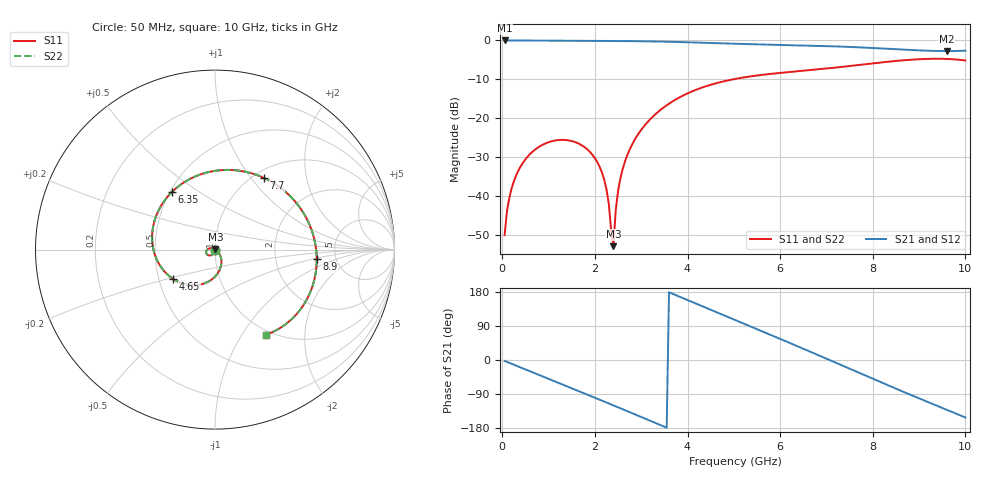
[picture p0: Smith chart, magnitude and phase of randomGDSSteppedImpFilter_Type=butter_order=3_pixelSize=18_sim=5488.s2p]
! freq	dB(S11)	phase(S11)	dB(S12)	phase(S12)
!  dB(S21)	phase(S21)	dB(S22)	phase(S22)
!S-par simulation data
#  GHz  S  DB  R 50
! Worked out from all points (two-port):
!   200 points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, 50 MHz to 10 GHz, reference 50 ohm
!   highest |S21| = 0.00 dB at 50 MHz (marker M1); lowest = -2.7 dB at 9.6 GHz (marker M2)
!   |S21| within 3 dB of the highest: start of sweep to end of sweep
!   lowest |S11| = -52.9 dB at 2.4 GHz (marker M3), VSWR 1.00, Z = 50.2 + j0.0799 ohm
!   |S11| at or under -10 dB: start of sweep to 4.982 GHz
!   |S22| runs from -54.1 to -4.7 dB; largest |S21 - S12| = 0
!   S11 on the Smith chart (normalised r, x): 50 MHz: 1.00, -0.01; 4.65 GHz: 0.59, -0.21; 6.35 GHz: 0.51, +0.39; 7.7 GHz: 1.11, +1.16; 8.9 GHz: 3.54, -0.57; 10 GHz: 0.95, -1.29
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0.05  -50.06 -91.2  -0.00 -2.5  -0.00 -2.5  -50.06 -91.2
0.2  -38.10 -99.9  -0.00 -10.0  -0.00 -10.0  -38.10 -99.8
0.55  -29.84 -117.9  -0.02 -27.5  -0.02 -27.5  -29.84 -117.8
1.15  -25.71 -148.5  -0.07 -57.3  -0.07 -57.3  -25.71 -148.3
1.75  -27.21 -179.4  -0.11 -87.1  -0.11 -87.1  -27.22 -179.1
2.2  -35.77 154.2  -0.13 -109.7  -0.13 -109.7  -35.78 155.4
2.3  -42.02 142.8  -0.13 -114.7  -0.13 -114.7  -42.09 145.5
2.4  -52.90 20.6  -0.14 -119.8  -0.14 -119.8  -54.06 13.4
2.45  -43.61 -18.6  -0.14 -122.3  -0.14 -122.3  -43.73 -22.0
2.5  -38.71 -27.4  -0.15 -124.8  -0.15 -124.8  -38.75 -29.4
2.65  -31.10 -39.7  -0.16 -132.5  -0.16 -132.5  -31.11 -40.6
3.4  -18.01 -80.7  -0.29 -170.9  -0.29 -170.9  -18.01 -81.0
4.65  -10.90 -145.2  -0.71 124.9  -0.71 124.9  -10.90 -145.4
5.05  -9.85 -165.6  -0.85 104.4  -0.85 104.4  -9.84 -165.8
5.7  -8.72 161.0  -1.07 71.2  -1.07 71.2  -8.72 160.9
6.35  -7.95 127.2  -1.25 37.5  -1.25 37.5  -7.95 127.1
6.7  -7.57 108.7  -1.35 19.2  -1.35 19.2  -7.57 108.7
7.7  -6.31 55.7  -1.77 -33.8  -1.77 -33.8  -6.31 55.7
8.35  -5.45 22.1  -2.16 -67.9  -2.16 -67.9  -5.45 22.1
8.9  -4.89 -5.5  -2.50 -96.2  -2.50 -96.2  -4.89 -5.4
9.6  -4.75 -39.5  -2.73 -131.4  -2.73 -131.4  -4.75 -39.5
10  -5.15 -58.9  -2.63 -151.7  -2.63 -151.7  -5.15 -58.9
